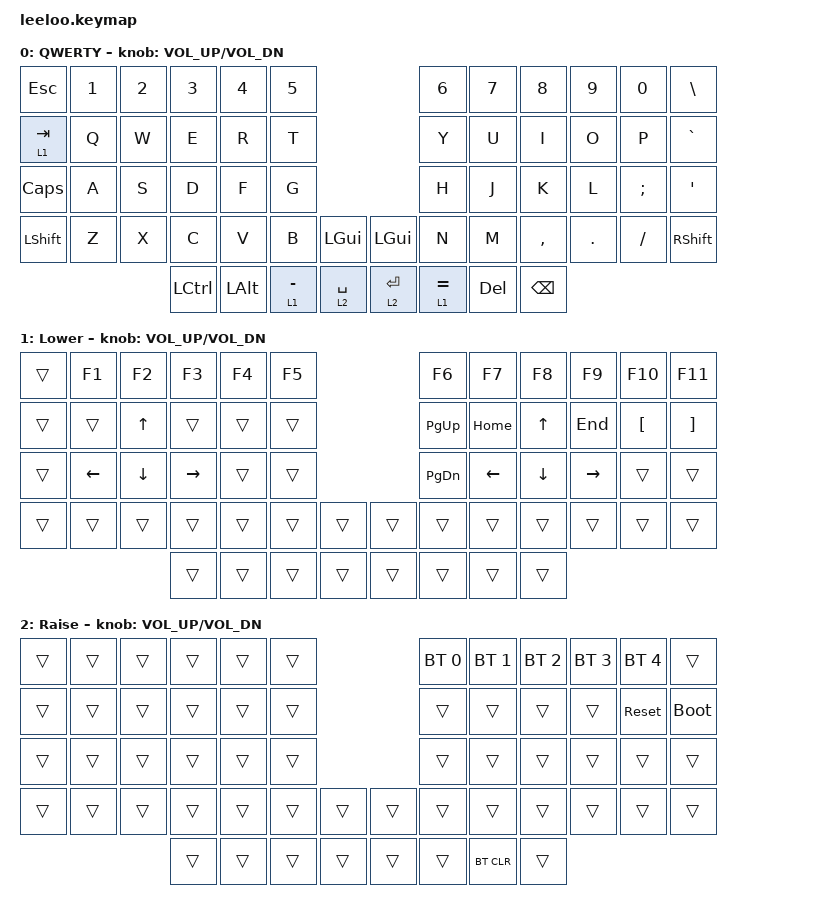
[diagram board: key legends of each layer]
/*
 * Copyright (c) 2023 The ZMK Contributors
 * SPDX-License-Identifier: MIT
 */

#include <behaviors.dtsi>
#include <dt-bindings/zmk/outputs.h>
#include <dt-bindings/zmk/keys.h>
#include <dt-bindings/zmk/bt.h>

/*
 * Assign the cs-gpios pin to 4.
 * Uncomment these next few lines if implementing nice!view Displays
 * A wire from the nice!view CS display needs to be connected to the
 * High Frequency P0.22, also known as D4 if you choose to refer to
 * the pins with Arduino Labels.
 */
//nice_view_spi: &spi0 {
//  cs-gpios = <&pro_micro 4 GPIO_ACTIVE_HIGH>;
//};

/ {

    keymap {
        compatible = "zmk,keymap";

        default_layer {
            display-name = " QWERTY";
            bindings = <
&kp ESC    &kp N1     &kp N2     &kp N3     &kp N4     &kp N5                           &kp N6     &kp N7     &kp N8     &kp N9     &kp N0     &kp BSLH
&lt 1 TAB    &kp Q      &kp W      &kp E      &kp R      &kp T                            &kp Y      &kp U      &kp I      &kp O      &kp P      &kp GRAVE
&kp CAPS   &kp A      &kp S      &kp D      &kp F      &kp G                            &kp H      &kp J      &kp K      &kp L      &kp SEMI   &kp SQT
&kp LSHFT  &kp Z      &kp X      &kp C      &kp V      &kp B     &kp LGUI    &kp LGUI   &kp N      &kp M      &kp COMMA  &kp DOT    &kp FSLH   &kp RSHFT
                             &kp LCTRL   &kp LALT  &lt 1 MINUS  &lt 2 SPACE    &lt 2 RET  &lt 1 EQUAL  &kp DEL   &kp BSPC
            >;

            sensor-bindings = <&inc_dec_kp C_VOL_UP C_VOL_DN>;
        };

        lower_layer {
            display-name = " Lower";
            bindings = <
&trans     &kp F1     &kp F2     &kp F3     &kp F4     &kp F5                           &kp F6     &kp F7     &kp F8     &kp F9     &kp F10    &kp F11
&trans     &trans     &kp UP     &trans     &trans     &trans                           &kp PG_UP  &kp HOME   &kp UP     &kp END    &kp LBKT     &kp RBKT
&trans     &kp LEFT     &kp DOWN     &kp RIGHT     &trans     &trans                           &kp PG_DN  &kp LEFT   &kp DOWN   &kp RIGHT  &trans     &trans
&trans     &trans     &trans     &trans     &trans     &trans     &trans     &trans     &trans     &trans     &trans     &trans     &trans     &trans
                                 &trans     &trans     &trans     &trans     &trans     &trans     &trans     &trans
            >;

            sensor-bindings = <&inc_dec_kp C_VOL_UP C_VOL_DN>;
        };

        raise_layer {
            display-name = " Raise";
            bindings = <
&trans     &trans     &trans     &trans     &trans     &trans                           &bt BT_SEL 0  &bt BT_SEL 1  &bt BT_SEL 2  &bt BT_SEL 3  &bt BT_SEL 4  &trans
&trans     &trans     &trans     &trans     &trans     &trans                           &trans        &trans        &trans        &trans        &sys_reset    &bootloader
&trans     &trans     &trans     &trans     &trans     &trans                           &trans        &trans        &trans        &trans        &trans        &trans
&trans     &trans     &trans     &trans     &trans     &trans     &trans     &trans     &trans        &trans        &trans        &trans        &trans        &trans
                                 &trans     &trans     &trans     &trans     &trans     &trans        &bt BT_CLR    &trans
            >;

            sensor-bindings = <&inc_dec_kp C_VOL_UP C_VOL_DN>;
        };

    };
};
